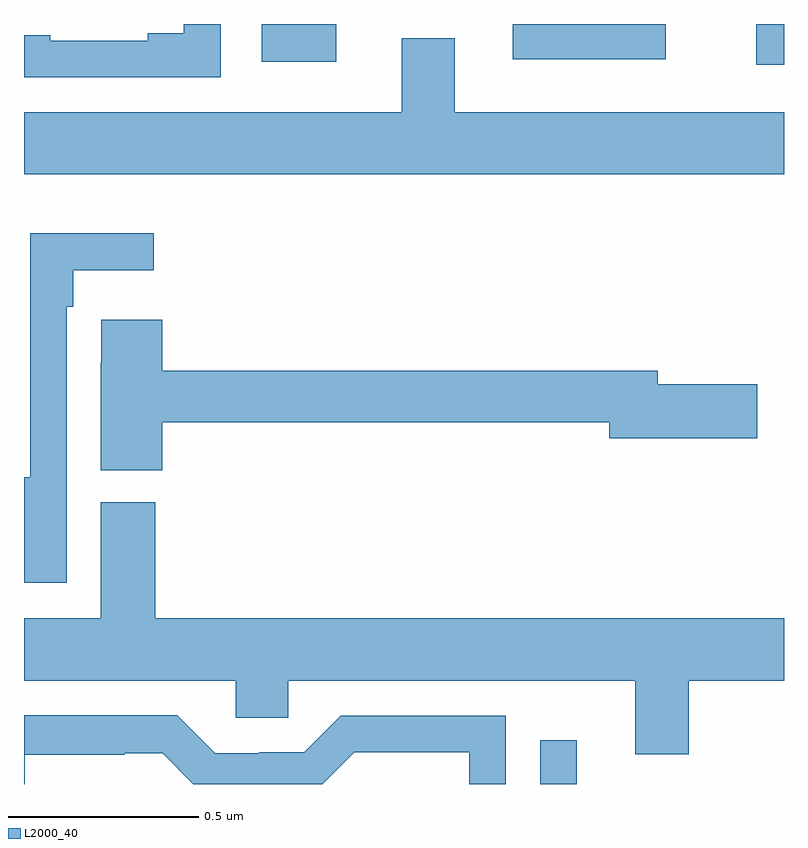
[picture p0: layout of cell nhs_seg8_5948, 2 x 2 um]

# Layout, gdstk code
import gdstk
lib = gdstk.Library(unit=1e-6, precision=1e-09)
def R(c, l, rs):  # rectangles x0, y0, x1, y1
    for r in rs: c.add(gdstk.rectangle(r[:2], r[2:], *l))
def P(c, l, *ps):  # polygons
    for p in ps: c.add(gdstk.Polygon(p, *l))
L2000_40 = (2000, 40)

nhs_seg8_5948 = lib.new_cell('nhs_seg8_5948')
R(nhs_seg8_5948, L2000_40, [(191.359,1110.9,191.455,1111.015), (191.927,1112.793,192,1112.9), (190.625,1112.801,190.822,1112.9), (191.286,1112.807,191.689,1112.9)])
P(nhs_seg8_5948, L2000_40, [(190.518,1112.9),(190.421,1112.9),(190.421,1112.876),(190.325,1112.876),(190.325,1112.856),(190.069,1112.856),(190.069,1112.87),(190,1112.87),(190,1112.76),(190.518,1112.76)],
  [(192,1112.668),(191.134,1112.668),(191.134,1112.863),(190.994,1112.863),(190.994,1112.668),(190,1112.668),(190,1112.504),(192,1112.504)],
  [(190.113,1112.156),(190.129,1112.156),(190.129,1112.252),(190.342,1112.252),(190.342,1112.35),(190.017,1112.35),(190.017,1111.707),(190,1111.707),(190,1111.43),(190.113,1111.43)],
  [(190.364,1111.852),(191.54,1111.852),(191.54,1111.81),(191.929,1111.81),(191.929,1111.952),(191.668,1111.952),(191.668,1111.988),(190.364,1111.988),(190.364,1112.122),(190.203,1112.122),(190.203,1112.009),(190.202,1112.009),(190.202,1111.726),(190.364,1111.726)],
  [(191.749,1111.172),(192,1111.172),(192,1111.336),(190.346,1111.336),(190.346,1111.641),(190.202,1111.641),(190.202,1111.336),(190,1111.336),(190,1111.172),(190.557,1111.172),(190.557,1111.074),(190.695,1111.074),(190.695,1111.172),(191.609,1111.172),(191.609,1110.978),(191.749,1110.978)],
  [(190.002,1110.977),(190.265,1110.977),(190.265,1110.981),(190.365,1110.981),(190.446,1110.9),(190.785,1110.9),(190.869,1110.984),(191.172,1110.984),(191.172,1110.9),(191.268,1110.9),(191.268,1111.08),(190.833,1111.08),(190.737,1110.984),(190.619,1110.984),(190.619,1110.981),(190.503,1110.981),(190.403,1111.081),(190,1111.081),(190,1110.9),(190.002,1110.9)])

lib.write_gds('nhs_seg8_5948.gds')
